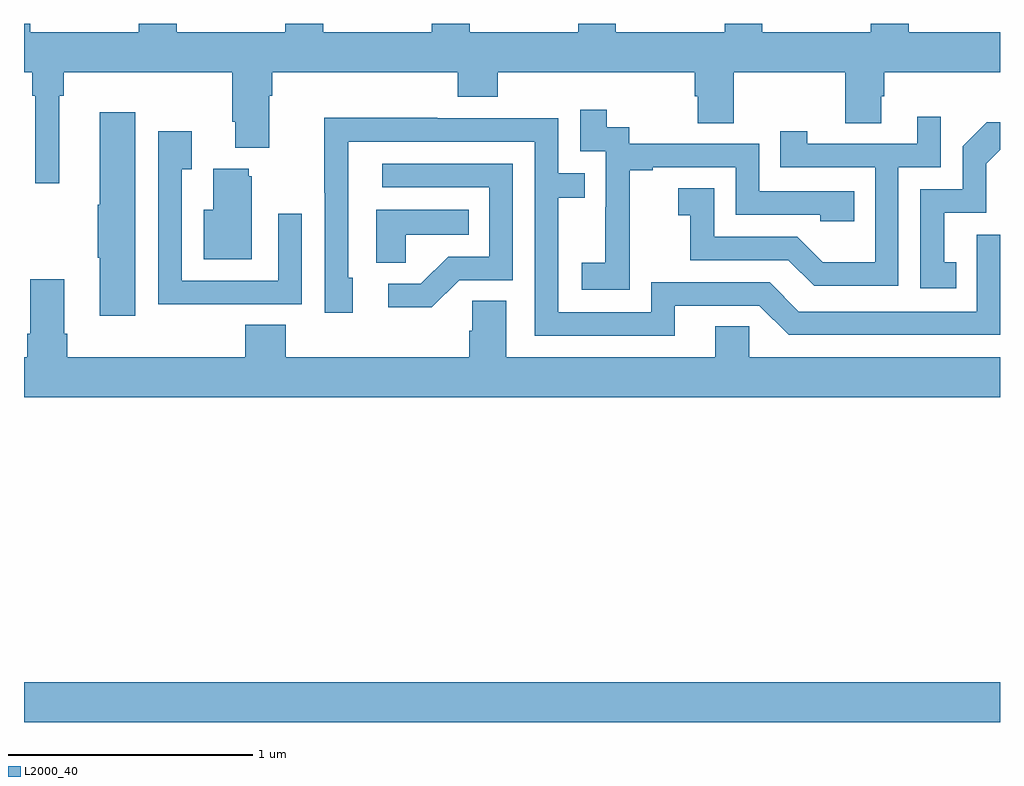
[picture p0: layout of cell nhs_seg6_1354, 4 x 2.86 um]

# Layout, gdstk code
import gdstk
lib = gdstk.Library(unit=1e-6, precision=1e-09)
def R(c, l, rs):  # rectangles x0, y0, x1, y1
    for r in rs: c.add(gdstk.rectangle(r[:2], r[2:], *l))
def P(c, l, *ps):  # polygons
    for p in ps: c.add(gdstk.Polygon(p, *l))
L2000_40 = (2000, 40)

nhs_seg6_1354 = lib.new_cell('nhs_seg6_1354')
R(nhs_seg6_1354, L2000_40, [(193,980.636,197,980.8)])
P(nhs_seg6_1354, L2000_40, [(194.826,983.5),(194.671,983.5),(194.671,983.464),(194.226,983.464),(194.226,983.5),(194.071,983.5),(194.071,983.464),(193.626,983.464),(193.626,983.5),(193.471,983.5),(193.471,983.464),(193.026,983.464),(193.026,983.5),(193,983.5),(193,983.3),(193.034,983.3),(193.034,983.204),(193.047,983.204),(193.047,982.845),(193.144,982.845),(193.144,983.204),(193.163,983.204),(193.163,983.3),(193.853,983.3),(193.853,983.098),(193.865,983.098),(193.865,982.991),(194.005,982.991),(194.005,983.204),(194.018,983.204),(194.018,983.3),(194.777,983.3),(194.777,983.201),(194.942,983.201),(194.942,983.3),(195.749,983.3),(195.749,983.202),(195.761,983.202),(195.761,983.092),(195.909,983.092),(195.909,983.3),(196.366,983.3),(196.366,983.092),(196.513,983.092),(196.513,983.202),(196.526,983.202),(196.526,983.3),(197,983.3),(197,983.464),(196.626,983.464),(196.626,983.5),(196.471,983.5),(196.471,983.464),(196.026,983.464),(196.026,983.5),(195.871,983.5),(195.871,983.464),(195.426,983.464),(195.426,983.5),(195.271,983.5),(195.271,983.464),(194.826,983.464)],
  [(195.483,982.615),(195.482,982.615),(195.482,982.899),(195.577,982.899),(195.577,982.911),(195.918,982.911),(195.918,982.716),(196.263,982.716),(196.263,982.689),(196.403,982.689),(196.403,982.812),(196.014,982.812),(196.014,983.007),(195.48,983.007),(195.48,983.076),(195.388,983.076),(195.388,983.146),(195.279,983.146),(195.279,982.977),(195.384,982.977),(195.384,982.748),(195.383,982.748),(195.383,982.519),(195.285,982.519),(195.285,982.409),(195.483,982.409)],
  [(193.456,983.137),(193.31,983.137),(193.31,982.757),(193.303,982.757),(193.303,982.54),(193.31,982.54),(193.31,982.302),(193.456,982.302)],
  [(196.584,982.911),(196.758,982.911),(196.758,983.119),(196.661,983.119),(196.661,983.007),(196.21,983.007),(196.21,983.059),(196.099,983.059),(196.099,982.911),(196.488,982.911),(196.488,982.522),(196.274,982.522),(196.17,982.626),(195.828,982.626),(195.828,982.825),(195.681,982.825),(195.681,982.715),(195.73,982.715),(195.73,982.53),(196.133,982.53),(196.238,982.425),(196.584,982.425)],
  [(195.667,982.344),(196.014,982.344),(196.134,982.224),(197,982.224),(197,982.635),(196.905,982.635),(196.905,982.32),(196.176,982.32),(196.056,982.44),(195.57,982.44),(195.57,982.317),(195.189,982.317),(195.189,982.786),(195.299,982.786),(195.299,982.887),(195.189,982.887),(195.189,983.112),(194.693,983.112),(194.693,983.114),(194.23,983.114),(194.23,982.807),(194.232,982.807),(194.232,982.314),(194.347,982.314),(194.347,982.458),(194.328,982.458),(194.328,983.016),(195.093,983.016),(195.093,982.221),(195.667,982.221)],
  [(196.82,982.521),(196.771,982.521),(196.771,982.725),(196.944,982.725),(196.944,982.926),(197,982.982),(197,983.096),(196.946,983.096),(196.848,982.998),(196.848,982.821),(196.674,982.821),(196.674,982.416),(196.82,982.416)],
  [(193.823,982.35),(194.139,982.35),(194.139,982.72),(194.043,982.72),(194.043,982.446),(193.647,982.446),(193.647,982.903),(193.687,982.903),(193.687,983.059),(193.551,983.059),(193.551,982.349),(193.823,982.349)],
  [(194.784,982.449),(195.003,982.449),(195.003,982.926),(194.469,982.926),(194.469,982.83),(194.907,982.83),(194.907,982.545),(194.738,982.545),(194.627,982.434),(194.493,982.434),(194.493,982.337),(194.671,982.337)],
  [(193.933,982.875),(193.922,982.875),(193.922,982.906),(193.775,982.906),(193.775,982.738),(193.736,982.738),(193.736,982.535),(193.933,982.535)],
  [(194.565,982.634),(194.822,982.634),(194.822,982.738),(194.444,982.738),(194.444,982.519),(194.565,982.519)],
  [(197,982.132),(195.972,982.132),(195.972,982.259),(195.833,982.259),(195.833,982.132),(194.977,982.132),(194.977,982.364),(194.838,982.364),(194.838,982.241),(194.825,982.241),(194.825,982.132),(194.072,982.132),(194.072,982.265),(193.907,982.265),(193.907,982.132),(193.178,982.132),(193.178,982.228),(193.165,982.228),(193.165,982.453),(193.025,982.453),(193.025,982.228),(193.013,982.228),(193.013,982.132),(193,982.132),(193,981.968),(197,981.968)])

lib.write_gds('nhs_seg6_1354.gds')
